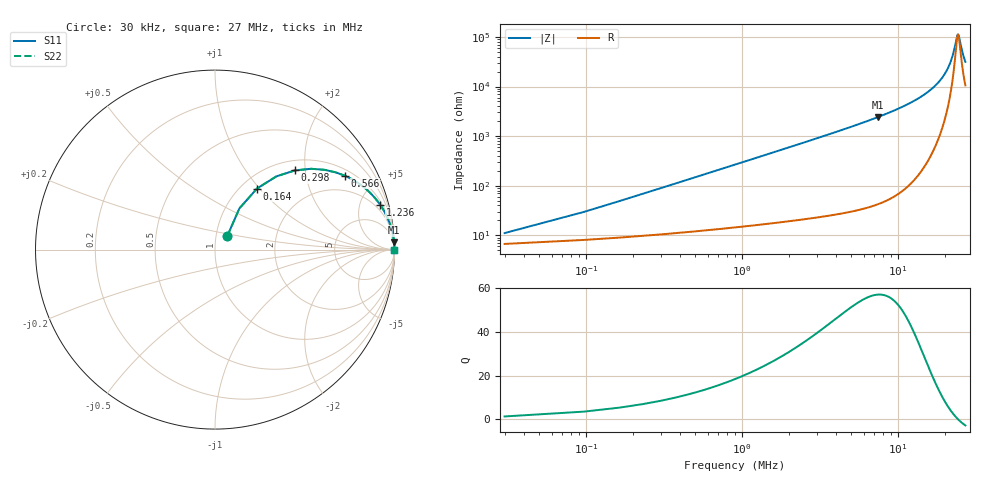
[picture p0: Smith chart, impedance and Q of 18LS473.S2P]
! Coilcraft 1812LS-473 Chip Inductor
! 8 August 2002
# MHZ S MA R 50
!Freq  MagS11  AngS11  MagS21  AngS21  MagS12  AngS12  MagS22  AngS22
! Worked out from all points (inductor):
!   404 points, 30 kHz to 27 MHz, reference 50 ohm
!   read as one part in series: L = 47 uH near 164 kHz
!   highest Q = 57.1 at 7.467 MHz (marker M1), where L = 51.9 uH
!   self-resonance near 24.22 MHz
!   S11 on the Smith chart (normalised r, x): 30 kHz: 1.13, +0.18; 164 kHz: 1.18, +0.97; 298 kHz: 1.21, +1.76; 566 kHz: 1.25, +3.34; 1.236 MHz: 1.32, +7.32; 27 MHz: open
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0.03  0.1038 48.1  0.9338 -4.7  0.9338 -4.7  0.1038 48.1
0.164  0.413 55.5  0.8383 -24.0  0.8383 -24.0  0.413 55.5
0.231  0.5332 50.0  0.7737 -31.9  0.7737 -31.9  0.5332 50.0
0.298  0.6277 44.7  0.7082 -38.6  0.7082 -38.6  0.6277 44.7
0.432  0.756 36.0  0.59 -48.8  0.59 -48.8  0.756 36.0
0.566  0.8321 29.7  0.4962 -56.1  0.4962 -56.1  0.8321 29.7
0.834  0.909 21.6  0.3681 -65.2  0.3681 -65.2  0.909 21.6
1.236  0.9541 15.1  0.2605 -72.4  0.2605 -72.4  0.9541 15.1
1.839  0.9778 10.3  0.1789 -77.7  0.1789 -77.7  0.9778 10.3
2.576  0.9882 7.4  0.1284 -81.0  0.1284 -81.0  0.9882 7.4
4.586  0.996 4.1  0.07089 -84.8  0.07089 -84.8  0.996 4.1
7.467  0.9984 2.3  0.04097 -86.6  0.04097 -86.6  0.9984 2.3
9.075  0.9989 1.8  0.03203 -87.1  0.03203 -87.1  0.9989 1.8
13.564  0.9994 1.0  0.01713 -87.4  0.01713 -87.4  0.9994 1.0
18.053  0.9994 0.5  0.008355 -85.4  0.008355 -85.4  0.9994 0.5
20.733  0.9993 0.3  0.004429 -80.6  0.004429 -80.6  0.9993 0.3
22.542  0.9992 0.1  0.002177 -68.4  0.002177 -68.4  0.9992 0.1
23.815  0.9991 0.0  0.0009991 -29.7  0.0009991 -29.7  0.9991 0.0
24.284  0.9991 -0.0  0.0008969 3.0  0.0008969 3.0  0.9991 -0.0
24.619  0.9991 -0.0  0.001011 25.1  0.001011 25.1  0.9991 -0.0
25.959  0.999 -0.1  0.00215 62.2  0.00215 62.2  0.999 -0.1
27  0.9989 -0.2  0.003185 70.2  0.003185 70.2  0.9989 -0.2
